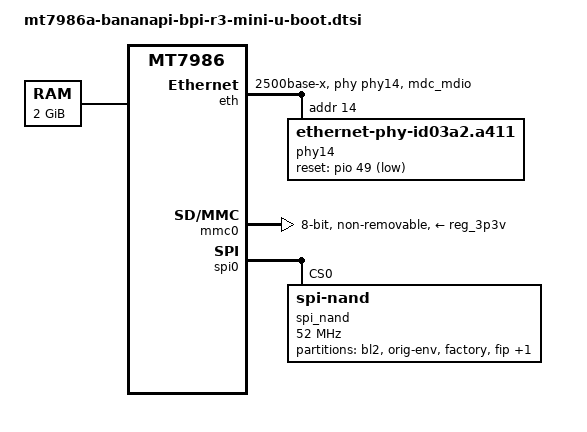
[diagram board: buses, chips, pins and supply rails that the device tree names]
#include <dt-bindings/reset/mt7629-reset.h>
#include "mt7986-u-boot.dtsi"

/ {
	memory@40000000 {
		device_type = "memory";
		reg = <0 0x40000000 0 0x80000000>;
	};
};

&eth {
	resets = <&ethsys ETHSYS_FE_RST>;
	reset-names = "fe";
	mediatek,sgmiisys = <&sgmiisys0>;
	/delete-property/ clocks;
	/delete-property/ assigned-clocks;
	/delete-property/ assigned-clock-parents;
};

&eth {
	pinctrl-names = "default";
	pinctrl-0 = <&mdio_pins>;

	mediatek,gmac-id = <0>;
	phy-mode = "2500base-x";
	//phy-handle = <&phy0>;
	phy-handle = <&phy14>;

	phy14: eth-phy@14 {
		compatible = "ethernet-phy-id03a2.a411";
		reg = <14>;
		pinctrl-names = "default";
		pinctrl-0 = <&en8811_pwr_a>;
		airoha,pnswap-rx;

		reset-gpios = <&pio 49 GPIO_ACTIVE_LOW>;
		reset-assert-us = <10000>;
		reset-deassert-us = <20000>;
	};
};

&mmc0 {
	pinctrl-names = "default";
	pinctrl-0 = <&mmc0_pins_default>;
	bus-width = <8>;
	max-frequency = <200000000>;
	cap-mmc-highspeed;
	cap-mmc-hw-reset;
	vmmc-supply = <&reg_3p3v>;
	vqmmc-supply = <&reg_1p8v>;
	non-removable;
	status = "okay";
};

&pio {
	en8811_pwr_a: en8811-pwr-a {
		pins = "GPIO_11";
		drive-strength = <MTK_DRIVE_8mA>;
		bias-pull-down = <MTK_PUPD_SET_R1R0_11>;
		output-low;
	};

	en8811_pwr_b: en8811-pwr-b {
		pins = "GPIO_12";
		drive-strength = <MTK_DRIVE_8mA>;
		bias-pull-down = <MTK_PUPD_SET_R1R0_11>;
		output-low;
	};

	mdio_pins: mdio-pins {
		mux {
			function = "eth";
			groups = "mdc_mdio";
		};
	};
};

&spi0 {
	#address-cells = <1>;
	#size-cells = <0>;
	pinctrl-names = "default";
	pinctrl-0 = <&spi_flash_pins>;
	status = "okay";
	must_tx;
	enhance_timing;
	dma_ext;
	ipm_design;
	support_quad;
	tick_dly = <1>;
	sample_sel = <0>;

	spi_nand@0 {
		compatible = "spi-nand";
		reg = <0>;
		spi-max-frequency = <52000000>;

		partitions {
			compatible = "fixed-partitions";
			#address-cells = <1>;
			#size-cells = <1>;

			partition@0 {
				label = "bl2";
				reg = <0x0 0x80000>;
			};

			partition@100000 {
				label = "orig-env";
				reg = <0x100000 0x80000>;
			};

			partition@80000 {
				label = "factory";
				reg = <0x80000 0x300000>;
			};

			partition@380000 {
				label = "fip";
				reg = <0x380000 0x200000>;
			};

			partition@580000 {
				label = "ubi";
				reg = <0x580000 0x7a80000>;
			};
		};
	};

};

